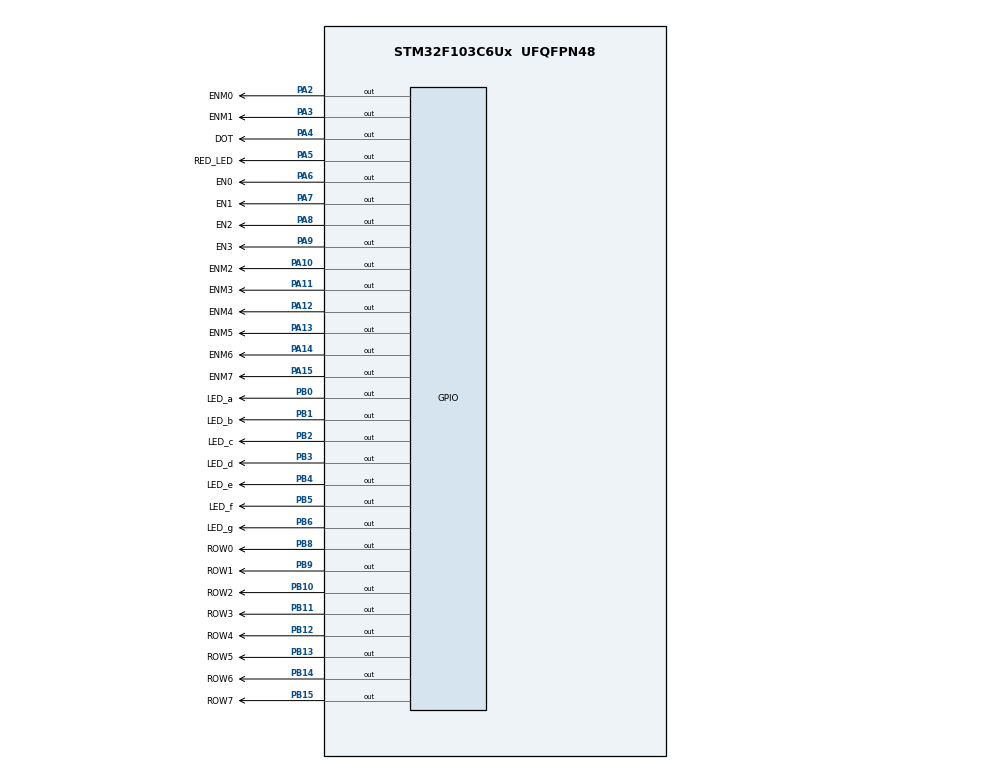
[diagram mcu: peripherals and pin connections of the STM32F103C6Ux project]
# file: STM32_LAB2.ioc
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Mcu.Family=STM32F1
Mcu.Name=STM32F103C6Ux
Mcu.Package=UFQFPN48
NVIC.PriorityGroup=NVIC_PRIORITYGROUP_4
NVIC.TIM2_IRQn=true\:0\:0\:false\:false\:true\:true\:true
PA10.GPIO_Label=ENM2
PA10.Signal=GPIO_Output
PA11.GPIO_Label=ENM3
PA11.Signal=GPIO_Output
PA12.GPIO_Label=ENM4
PA12.Signal=GPIO_Output
PA13.GPIO_Label=ENM5
PA13.Signal=GPIO_Output
PA14.GPIO_Label=ENM6
PA14.Signal=GPIO_Output
PA15.GPIO_Label=ENM7
PA15.Signal=GPIO_Output
PA2.GPIO_Label=ENM0
PA2.Signal=GPIO_Output
PA3.GPIO_Label=ENM1
PA3.Signal=GPIO_Output
PA4.GPIO_Label=DOT
PA4.Signal=GPIO_Output
PA5.GPIO_Label=RED_LED
PA5.Signal=GPIO_Output
PA6.GPIO_Label=EN0
PA6.Signal=GPIO_Output
PA7.GPIO_Label=EN1
PA7.Signal=GPIO_Output
PA8.GPIO_Label=EN2
PA8.Signal=GPIO_Output
PA9.GPIO_Label=EN3
PA9.Signal=GPIO_Output
PB0.GPIO_Label=LED_a
PB0.Signal=GPIO_Output
PB1.GPIO_Label=LED_b
PB1.Signal=GPIO_Output
PB10.GPIO_Label=ROW2
PB10.PinState=GPIO_PIN_SET
PB10.Signal=GPIO_Output
PB11.GPIO_Label=ROW3
PB11.PinState=GPIO_PIN_SET
PB11.Signal=GPIO_Output
PB12.GPIO_Label=ROW4
PB12.PinState=GPIO_PIN_SET
PB12.Signal=GPIO_Output
PB13.GPIO_Label=ROW5
PB13.PinState=GPIO_PIN_SET
PB13.Signal=GPIO_Output
PB14.GPIO_Label=ROW6
PB14.PinState=GPIO_PIN_SET
PB14.Signal=GPIO_Output
PB15.GPIO_Label=ROW7
PB15.PinState=GPIO_PIN_SET
PB15.Signal=GPIO_Output
PB2.GPIO_Label=LED_c
PB2.Signal=GPIO_Output
PB3.GPIO_Label=LED_d
PB3.Signal=GPIO_Output
PB4.GPIO_Label=LED_e
PB4.Signal=GPIO_Output
PB5.GPIO_Label=LED_f
PB5.Signal=GPIO_Output
PB6.GPIO_Label=LED_g
PB6.Signal=GPIO_Output
PB8.GPIO_Label=ROW0
PB8.PinState=GPIO_PIN_SET
PB8.Signal=GPIO_Output
PB9.GPIO_Label=ROW1
PB9.PinState=GPIO_PIN_SET
PB9.Signal=GPIO_Output
ProjectManager.HeapSize=0x200
ProjectManager.StackSize=0x400
ProjectManager.TargetToolchain=STM32CubeIDE
RCC.APB1Freq_Value=8000000
RCC.APB2Freq_Value=8000000
TIM2.Period=9
TIM2.Prescaler=7999
VP_SYS_VS_ND.Mode=No_Debug
VP_TIM2_VS_ClockSourceINT.Mode=Internal
board=custom

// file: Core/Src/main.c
/* USER CODE BEGIN Header */
/**
  ******************************************************************************
  * @file           : main.c
  * @brief          : Main program body
  ******************************************************************************
  * @attention
  *
  * <h2><center>&copy; Copyright (c) 2025 STMicroelectronics.
  * All rights reserved.</center></h2>
  *
  * This software component is licensed by ST under BSD 3-Clause license,
  * the "License"; You may not use this file except in compliance with the
  * License. You may obtain a copy of the License at:
  *                        opensource.org/licenses/BSD-3-Clause
  *
  ******************************************************************************
  */
/* USER CODE END Header */
#include "main.h"

/* USER CODE BEGIN Includes */
#include "sw_timer.h"
/* USER CODE END Includes */

TIM_HandleTypeDef htim2;

void SystemClock_Config(void);
static void MX_GPIO_Init(void);
static void MX_TIM2_Init(void);

/* USER CODE BEGIN 0 */
const int MAX_LED =4 ;
int led_idx = 0;
int hour = 15, minute = 8, second = 50;
int led_buffer[4];
int ms_counter=0;
void display7SEG (int num) {
	switch (num) {
	case 0:
		HAL_GPIO_WritePin(LED_a_GPIO_Port, LED_a_Pin, GPIO_PIN_RESET);
		HAL_GPIO_WritePin(LED_b_GPIO_Port, LED_b_Pin, GPIO_PIN_RESET);
		HAL_GPIO_WritePin(LED_c_GPIO_Port, LED_c_Pin, GPIO_PIN_RESET);
		HAL_GPIO_WritePin(LED_d_GPIO_Port, LED_d_Pin, GPIO_PIN_RESET);
		HAL_GPIO_WritePin(LED_e_GPIO_Port, LED_e_Pin, GPIO_PIN_RESET);
		HAL_GPIO_WritePin(LED_f_GPIO_Port, LED_f_Pin, GPIO_PIN_RESET);
		HAL_GPIO_WritePin(LED_g_GPIO_Port, LED_g_Pin, GPIO_PIN_SET);
		break;
	case 1:
		HAL_GPIO_WritePin(LED_a_GPIO_Port, LED_a_Pin, GPIO_PIN_SET);
		HAL_GPIO_WritePin(LED_b_GPIO_Port, LED_b_Pin, GPIO_PIN_RESET);
		HAL_GPIO_WritePin(LED_c_GPIO_Port, LED_c_Pin, GPIO_PIN_RESET);
		HAL_GPIO_WritePin(LED_d_GPIO_Port, LED_d_Pin, GPIO_PIN_SET);
		HAL_GPIO_WritePin(LED_e_GPIO_Port, LED_e_Pin, GPIO_PIN_SET);
		HAL_GPIO_WritePin(LED_f_GPIO_Port, LED_f_Pin, GPIO_PIN_SET);
		HAL_GPIO_WritePin(LED_g_GPIO_Port, LED_g_Pin, GPIO_PIN_SET);
		break;
	case 2:
		HAL_GPIO_WritePin(LED_a_GPIO_Port, LED_a_Pin, GPIO_PIN_RESET);
		HAL_GPIO_WritePin(LED_b_GPIO_Port, LED_b_Pin, GPIO_PIN_RESET);
		HAL_GPIO_WritePin(LED_c_GPIO_Port, LED_c_Pin, GPIO_PIN_SET);
		HAL_GPIO_WritePin(LED_d_GPIO_Port, LED_d_Pin, GPIO_PIN_RESET);
		HAL_GPIO_WritePin(LED_e_GPIO_Port, LED_e_Pin, GPIO_PIN_RESET);
		HAL_GPIO_WritePin(LED_f_GPIO_Port, LED_f_Pin, GPIO_PIN_SET);
		HAL_GPIO_WritePin(LED_g_GPIO_Port, LED_g_Pin, GPIO_PIN_RESET);
		break;
	case 3:
		HAL_GPIO_WritePin(LED_a_GPIO_Port, LED_a_Pin, GPIO_PIN_RESET);
		HAL_GPIO_WritePin(LED_b_GPIO_Port, LED_b_Pin, GPIO_PIN_RESET);
		HAL_GPIO_WritePin(LED_c_GPIO_Port, LED_c_Pin, GPIO_PIN_RESET);
		HAL_GPIO_WritePin(LED_d_GPIO_Port, LED_d_Pin, GPIO_PIN_RESET);
		HAL_GPIO_WritePin(LED_e_GPIO_Port, LED_e_Pin, GPIO_PIN_SET);
		HAL_GPIO_WritePin(LED_f_GPIO_Port, LED_f_Pin, GPIO_PIN_SET);
		HAL_GPIO_WritePin(LED_g_GPIO_Port, LED_g_Pin, GPIO_PIN_RESET);
		break;
	case 4:
		HAL_GPIO_WritePin(LED_a_GPIO_Port, LED_a_Pin, GPIO_PIN_SET);
		HAL_GPIO_WritePin(LED_b_GPIO_Port, LED_b_Pin, GPIO_PIN_RESET);
		HAL_GPIO_WritePin(LED_c_GPIO_Port, LED_c_Pin, GPIO_PIN_RESET);
		HAL_GPIO_WritePin(LED_d_GPIO_Port, LED_d_Pin, GPIO_PIN_SET);
		HAL_GPIO_WritePin(LED_e_GPIO_Port, LED_e_Pin, GPIO_PIN_SET);
		HAL_GPIO_WritePin(LED_f_GPIO_Port, LED_f_Pin, GPIO_PIN_RESET);
		HAL_GPIO_WritePin(LED_g_GPIO_Port, LED_g_Pin, GPIO_PIN_RESET);
		break;
	case 5:
		HAL_GPIO_WritePin(LED_a_GPIO_Port, LED_a_Pin, GPIO_PIN_RESET);
		HAL_GPIO_WritePin(LED_b_GPIO_Port, LED_b_Pin, GPIO_PIN_SET);
		HAL_GPIO_WritePin(LED_c_GPIO_Port, LED_c_Pin, GPIO_PIN_RESET);
		HAL_GPIO_WritePin(LED_d_GPIO_Port, LED_d_Pin, GPIO_PIN_RESET);
		HAL_GPIO_WritePin(LED_e_GPIO_Port, LED_e_Pin, GPIO_PIN_SET);
		HAL_GPIO_WritePin(LED_f_GPIO_Port, LED_f_Pin, GPIO_PIN_RESET);
		HAL_GPIO_WritePin(LED_g_GPIO_Port, LED_g_Pin, GPIO_PIN_RESET);
		break;
	case 6:
		HAL_GPIO_WritePin(LED_a_GPIO_Port, LED_a_Pin, GPIO_PIN_RESET);
		HAL_GPIO_WritePin(LED_b_GPIO_Port, LED_b_Pin, GPIO_PIN_SET);
		HAL_GPIO_WritePin(LED_c_GPIO_Port, LED_c_Pin, GPIO_PIN_RESET);
		HAL_GPIO_WritePin(LED_d_GPIO_Port, LED_d_Pin, GPIO_PIN_RESET);
		HAL_GPIO_WritePin(LED_e_GPIO_Port, LED_e_Pin, GPIO_PIN_RESET);
		HAL_GPIO_WritePin(LED_f_GPIO_Port, LED_f_Pin, GPIO_PIN_RESET);
		HAL_GPIO_WritePin(LED_g_GPIO_Port, LED_g_Pin, GPIO_PIN_RESET);
		break;
	case 7:
		HAL_GPIO_WritePin(LED_a_GPIO_Port, LED_a_Pin, GPIO_PIN_RESET);
		HAL_GPIO_WritePin(LED_b_GPIO_Port, LED_b_Pin, GPIO_PIN_RESET);
		HAL_GPIO_WritePin(LED_c_GPIO_Port, LED_c_Pin, GPIO_PIN_RESET);
		HAL_GPIO_WritePin(LED_d_GPIO_Port, LED_d_Pin, GPIO_PIN_SET);
		HAL_GPIO_WritePin(LED_e_GPIO_Port, LED_e_Pin, GPIO_PIN_SET);
		HAL_GPIO_WritePin(LED_f_GPIO_Port, LED_f_Pin, GPIO_PIN_SET);
		HAL_GPIO_WritePin(LED_g_GPIO_Port, LED_g_Pin, GPIO_PIN_SET);
		break;
	case 8:
		HAL_GPIO_WritePin(LED_a_GPIO_Port, LED_a_Pin, GPIO_PIN_RESET);
		HAL_GPIO_WritePin(LED_b_GPIO_Port, LED_b_Pin, GPIO_PIN_RESET);
		HAL_GPIO_WritePin(LED_c_GPIO_Port, LED_c_Pin, GPIO_PIN_RESET);
		HAL_GPIO_WritePin(LED_d_GPIO_Port, LED_d_Pin, GPIO_PIN_RESET);
		HAL_GPIO_WritePin(LED_e_GPIO_Port, LED_e_Pin, GPIO_PIN_RESET);
		HAL_GPIO_WritePin(LED_f_GPIO_Port, LED_f_Pin, GPIO_PIN_RESET);
		HAL_GPIO_WritePin(LED_g_GPIO_Port, LED_g_Pin, GPIO_PIN_RESET);
		break;
	case 9:
		HAL_GPIO_WritePin(LED_a_GPIO_Port, LED_a_Pin, GPIO_PIN_RESET);
		HAL_GPIO_WritePin(LED_b_GPIO_Port, LED_b_Pin, GPIO_PIN_RESET);
		HAL_GPIO_WritePin(LED_c_GPIO_Port, LED_c_Pin, GPIO_PIN_RESET);
		HAL_GPIO_WritePin(LED_d_GPIO_Port, LED_d_Pin, GPIO_PIN_RESET);
		HAL_GPIO_WritePin(LED_e_GPIO_Port, LED_e_Pin, GPIO_PIN_SET);
		HAL_GPIO_WritePin(LED_f_GPIO_Port, LED_f_Pin, GPIO_PIN_RESET);
		HAL_GPIO_WritePin(LED_g_GPIO_Port, LED_g_Pin, GPIO_PIN_RESET);
		break;
	default:
		break;
	}
}

void updateClockBuffer(int hour, int minute){
    led_buffer[0] = hour / 10;
    led_buffer[1] = hour % 10;
    led_buffer[2] = minute / 10;
    led_buffer[3] = minute % 10;
}

void update7SEG (int idx) {
		HAL_GPIO_WritePin(GPIOA,EN0_Pin | EN1_Pin | EN2_Pin | EN3_Pin, GPIO_PIN_SET);
  	  switch(idx) {
  	  case 0:
  		display7SEG(led_buffer[0]);
  		HAL_GPIO_WritePin(EN0_GPIO_Port, EN0_Pin, RESET);
  		break;

  	  case 1:
		display7SEG(led_buffer[1]);
		HAL_GPIO_WritePin(EN1_GPIO_Port, EN1_Pin, RESET);
		break;

  	  case 2:
		display7SEG(led_buffer[2]);
		HAL_GPIO_WritePin(EN2_GPIO_Port, EN2_Pin, RESET);
		break;

  	  case 3:
		display7SEG(led_buffer[3]);
		HAL_GPIO_WritePin(EN3_GPIO_Port, EN3_Pin, RESET);
		break;

  	  default:
		break;
  	  }
    }
const int MAX_LED_MATRIX = 8;
int index_led_matrix = 0;

uint8_t matrix_buffer[8] = {
    0b00000000,
    0b00111111,
    0b01001000,
    0b10001000,
    0b10001000,
    0b01001000,
    0b00111111,
    0b00000000
};

void turnOffAllMatrixColumn() {
    HAL_GPIO_WritePin(GPIOA, GPIO_PIN_2, GPIO_PIN_SET);
    HAL_GPIO_WritePin(GPIOA, GPIO_PIN_3, GPIO_PIN_SET);
    HAL_GPIO_WritePin(GPIOA, GPIO_PIN_10, GPIO_PIN_SET);
    HAL_GPIO_WritePin(GPIOA, GPIO_PIN_11, GPIO_PIN_SET);
    HAL_GPIO_WritePin(GPIOA, GPIO_PIN_12, GPIO_PIN_SET);
    HAL_GPIO_WritePin(GPIOA, GPIO_PIN_13, GPIO_PIN_SET);
    HAL_GPIO_WritePin(GPIOA, GPIO_PIN_14, GPIO_PIN_SET);
    HAL_GPIO_WritePin(GPIOA, GPIO_PIN_15, GPIO_PIN_SET);
}

void setMatrixRowData(uint8_t data) {
    HAL_GPIO_WritePin(GPIOB, GPIO_PIN_8,  !((data >> 7) & 0x1));
    HAL_GPIO_WritePin(GPIOB, GPIO_PIN_9,  !((data >> 6) & 0x1));
    HAL_GPIO_WritePin(GPIOB, GPIO_PIN_10, !((data >> 5) & 0x1));
    HAL_GPIO_WritePin(GPIOB, GPIO_PIN_11, !((data >> 4) & 0x1));
    HAL_GPIO_WritePin(GPIOB, GPIO_PIN_12, !((data >> 3) & 0x1));
    HAL_GPIO_WritePin(GPIOB, GPIO_PIN_13, !((data >> 2) & 0x1));
    HAL_GPIO_WritePin(GPIOB, GPIO_PIN_14, !((data >> 1) & 0x1));
    HAL_GPIO_WritePin(GPIOB, GPIO_PIN_15, !((data >> 0) & 0x1));
}

void updateLEDMatrix(int index) {
    turnOffAllMatrixColumn();
    setMatrixRowData(matrix_buffer[index]);

    switch (index) {
        case 0:
            HAL_GPIO_WritePin(GPIOA, GPIO_PIN_2, GPIO_PIN_RESET);
            break;
        case 1:
            HAL_GPIO_WritePin(GPIOA, GPIO_PIN_3, GPIO_PIN_RESET);
            break;
        case 2:
            HAL_GPIO_WritePin(GPIOA, GPIO_PIN_10, GPIO_PIN_RESET);
            break;
        case 3:
            HAL_GPIO_WritePin(GPIOA, GPIO_PIN_11, GPIO_PIN_RESET);
            break;
        case 4:
            HAL_GPIO_WritePin(GPIOA, GPIO_PIN_12, GPIO_PIN_RESET);
            break;
        case 5:
            HAL_GPIO_WritePin(GPIOA, GPIO_PIN_13, GPIO_PIN_RESET);
            break;
        case 6:
            HAL_GPIO_WritePin(GPIOA, GPIO_PIN_14, GPIO_PIN_RESET);
            break;
        case 7:
            HAL_GPIO_WritePin(GPIOA, GPIO_PIN_15, GPIO_PIN_RESET);
            break;
        default:
            break;
    }
}

/* USER CODE END 0 */

int main(void)
{

  /* MCU Configuration--------------------------------------------------------*/

  /* Reset of all peripherals, Initializes the Flash interface and the Systick. */
  HAL_Init();

  /* Configure the system clock */
  SystemClock_Config();

  /* Initialize all configured peripherals */
  MX_GPIO_Init();
  MX_TIM2_Init();
  /* USER CODE BEGIN 2 */
  updateClockBuffer(hour, minute);
  HAL_TIM_Base_Start_IT(&htim2);
  /* USER CODE END 2 */

  /* Infinite loop */
  /* USER CODE BEGIN WHILE */
  setTimer1(10);
  setTimer2(10);
  setTimer3(10);
  while (1)
  {
	  if(timer1_flag == 1) {
		  setTimer1(100);
		  timer1_flag = 0;
		  HAL_GPIO_TogglePin(GPIOA, DOT_Pin | RED_LED_Pin);

		  second++;
		  if (second >= 60) { second = 0; minute++; }
		  if (minute >= 60) { minute = 0; hour++; }
		  if (hour >= 24)   { hour = 0; }
		  updateClockBuffer(hour, minute);
	  }

	  if(timer2_flag == 1) {
		  setTimer2(25);
		  timer2_flag = 0;
		  update7SEG(led_idx++);
		  if(led_idx >= MAX_LED) led_idx = 0;
	  }
	  if (timer3_flag == 1) {
	      setTimer3(20);
	      timer3_flag = 0;
	      updateLEDMatrix(index_led_matrix++);
	      if (index_led_matrix >= MAX_LED_MATRIX) index_led_matrix = 0;
	  }
	  __WFI();
    /* USER CODE END WHILE */

  }
}

void SystemClock_Config(void)
{
  RCC_OscInitTypeDef RCC_OscInitStruct = {0};
  RCC_ClkInitTypeDef RCC_ClkInitStruct = {0};

  /** Initializes the RCC Oscillators according to the specified parameters
  * in the RCC_OscInitTypeDef structure.
  */
  RCC_OscInitStruct.OscillatorType = RCC_OSCILLATORTYPE_HSI;
  RCC_OscInitStruct.HSIState = RCC_HSI_ON;
  RCC_OscInitStruct.HSICalibrationValue = RCC_HSICALIBRATION_DEFAULT;
  RCC_OscInitStruct.PLL.PLLState = RCC_PLL_NONE;
  if (HAL_RCC_OscConfig(&RCC_OscInitStruct) != HAL_OK)
  {
    Error_Handler();
  }
  /** Initializes the CPU, AHB and APB buses clocks
  */
  RCC_ClkInitStruct.ClockType = RCC_CLOCKTYPE_HCLK|RCC_CLOCKTYPE_SYSCLK
                              |RCC_CLOCKTYPE_PCLK1|RCC_CLOCKTYPE_PCLK2;
  RCC_ClkInitStruct.SYSCLKSource = RCC_SYSCLKSOURCE_HSI;
  RCC_ClkInitStruct.AHBCLKDivider = RCC_SYSCLK_DIV1;
  RCC_ClkInitStruct.APB1CLKDivider = RCC_HCLK_DIV1;
  RCC_ClkInitStruct.APB2CLKDivider = RCC_HCLK_DIV1;

  if (HAL_RCC_ClockConfig(&RCC_ClkInitStruct, FLASH_LATENCY_0) != HAL_OK)
  {
    Error_Handler();
  }
}

static void MX_TIM2_Init(void)
{

  TIM_ClockConfigTypeDef sClockSourceConfig = {0};
  TIM_MasterConfigTypeDef sMasterConfig = {0};

  htim2.Instance = TIM2;
  htim2.Init.Prescaler = 7999;
  htim2.Init.CounterMode = TIM_COUNTERMODE_UP;
  htim2.Init.Period = 9;
  htim2.Init.ClockDivision = TIM_CLOCKDIVISION_DIV1;
  htim2.Init.AutoReloadPreload = TIM_AUTORELOAD_PRELOAD_DISABLE;
  if (HAL_TIM_Base_Init(&htim2) != HAL_OK)
  {
    Error_Handler();
  }
  sClockSourceConfig.ClockSource = TIM_CLOCKSOURCE_INTERNAL;
  if (HAL_TIM_ConfigClockSource(&htim2, &sClockSourceConfig) != HAL_OK)
  {
    Error_Handler();
  }
  sMasterConfig.MasterOutputTrigger = TIM_TRGO_RESET;
  sMasterConfig.MasterSlaveMode = TIM_MASTERSLAVEMODE_DISABLE;
  if (HAL_TIMEx_MasterConfigSynchronization(&htim2, &sMasterConfig) != HAL_OK)
  {
    Error_Handler();
  }

}

static void MX_GPIO_Init(void)
{
  GPIO_InitTypeDef GPIO_InitStruct = {0};

  /* GPIO Ports Clock Enable */
  __HAL_RCC_GPIOA_CLK_ENABLE();
  __HAL_RCC_GPIOB_CLK_ENABLE();

  /*Configure GPIO pin Output Level */
  HAL_GPIO_WritePin(GPIOA, ENM0_Pin|ENM1_Pin|DOT_Pin|RED_LED_Pin
                          |EN0_Pin|EN1_Pin|EN2_Pin|EN3_Pin
                          |ENM2_Pin|ENM3_Pin|ENM4_Pin|ENM5_Pin
                          |ENM6_Pin|ENM7_Pin, GPIO_PIN_RESET);

  /*Configure GPIO pin Output Level */
  HAL_GPIO_WritePin(GPIOB, LED_a_Pin|LED_b_Pin|LED_c_Pin|LED_d_Pin
                          |LED_e_Pin|LED_f_Pin|LED_g_Pin, GPIO_PIN_RESET);

  /*Configure GPIO pin Output Level */
  HAL_GPIO_WritePin(GPIOB, ROW2_Pin|ROW3_Pin|ROW4_Pin|ROW5_Pin
                          |ROW6_Pin|ROW7_Pin|ROW0_Pin|ROW1_Pin, GPIO_PIN_SET);

  /*Configure GPIO pins : ENM0_Pin ENM1_Pin DOT_Pin RED_LED_Pin
                           EN0_Pin EN1_Pin EN2_Pin EN3_Pin
                           ENM2_Pin ENM3_Pin ENM4_Pin ENM5_Pin
                           ENM6_Pin ENM7_Pin */
  GPIO_InitStruct.Pin = ENM0_Pin|ENM1_Pin|DOT_Pin|RED_LED_Pin
                          |EN0_Pin|EN1_Pin|EN2_Pin|EN3_Pin
                          |ENM2_Pin|ENM3_Pin|ENM4_Pin|ENM5_Pin
                          |ENM6_Pin|ENM7_Pin;
  GPIO_InitStruct.Mode = GPIO_MODE_OUTPUT_PP;
  GPIO_InitStruct.Pull = GPIO_NOPULL;
  GPIO_InitStruct.Speed = GPIO_SPEED_FREQ_LOW;
  HAL_GPIO_Init(GPIOA, &GPIO_InitStruct);

  /*Configure GPIO pins : LED_a_Pin LED_b_Pin LED_c_Pin ROW2_Pin
                           ROW3_Pin ROW4_Pin ROW5_Pin ROW6_Pin
                           ROW7_Pin LED_d_Pin LED_e_Pin LED_f_Pin
                           LED_g_Pin ROW0_Pin ROW1_Pin */
  GPIO_InitStruct.Pin = LED_a_Pin|LED_b_Pin|LED_c_Pin|ROW2_Pin
                          |ROW3_Pin|ROW4_Pin|ROW5_Pin|ROW6_Pin
                          |ROW7_Pin|LED_d_Pin|LED_e_Pin|LED_f_Pin
                          |LED_g_Pin|ROW0_Pin|ROW1_Pin;
  GPIO_InitStruct.Mode = GPIO_MODE_OUTPUT_PP;
  GPIO_InitStruct.Pull = GPIO_NOPULL;
  GPIO_InitStruct.Speed = GPIO_SPEED_FREQ_LOW;
  HAL_GPIO_Init(GPIOB, &GPIO_InitStruct);

}

/* USER CODE BEGIN 4 */
	void HAL_TIM_PeriodElapsedCallback ( TIM_HandleTypeDef * htim )
{
		timerRun();

 }
/* USER CODE END 4 */

void Error_Handler(void)
{
  __disable_irq();
  while (1)
  {
  }
}

/************************ (C) COPYRIGHT STMicroelectronics *****END OF FILE****/
